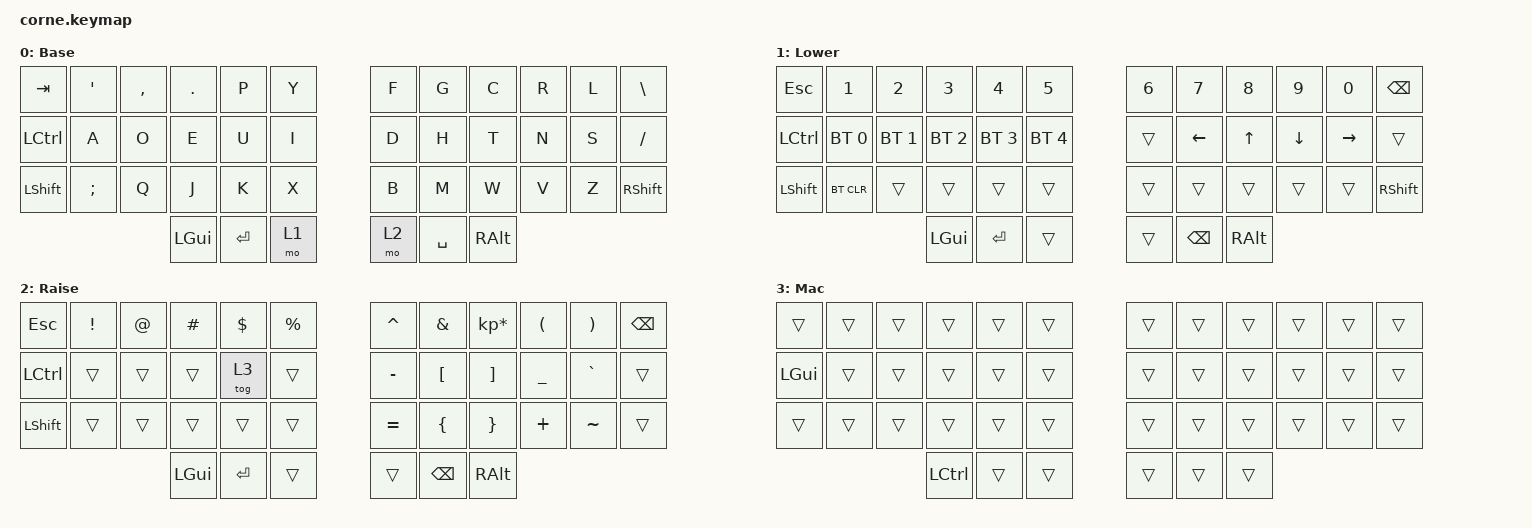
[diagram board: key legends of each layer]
/*
 * Copyright (c) 2020 The ZMK Contributors
 *
 * SPDX-License-Identifier: MIT
 */

#include <behaviors.dtsi>
#include <dt-bindings/zmk/keys.h>
#include <dt-bindings/zmk/bt.h>

/ {
        keymap {
                compatible = "zmk,keymap";

                default_layer {
// -----------------------------------------------------------------------------------------
// |  TAB |  '  |  ,  |  .  |  P  |  Y  |   |  F  |  G  |  C  |  R  |  L  |  \   |
// | CTRL |  A  |  O  |  E  |  U  |  I  |   |  D  |  H  |  T  |  N  |  S  |  /   |
// | SHFT |  ;  |  Q  |  J  |  K  |  X  |   |  B  |  M  |  W  |  V  |  Z  | SHFT |
//                    | GUI | ENT | LWR |   | RSE | SPC | ALT |
                        display-name = "Base";
                        bindings = <
   &kp TAB   &kp SQT  &kp COMMA &kp DOT  &kp P &kp Y     &kp F    &kp G  &kp C &kp R &kp L &kp BSLH
   &kp LCTRL &kp A    &kp O     &kp E    &kp U &kp I     &kp D    &kp H  &kp T &kp N &kp S &kp FSLH
   &kp LSHFT &kp SEMI &kp Q     &kp J    &kp K &kp X     &kp B    &kp M  &kp W &kp V &kp Z &kp RSHFT
                                &kp LGUI &kp RET &mo 1   &mo 2 &kp SPACE &kp RALT
                        >;
                };
                lower_layer {
// -----------------------------------------------------------------------------------------
// |  ESC |   1   |  2  |  3  |  4  |  5  |   |  6   |  7  |  8  |  9  |  0  | BKSP |
// | CTRL |  BT1  | BT2 | BT3 | BT4 | BT5 |   |      | LFT |  UP | DWN | RGT |      |
// | SHFT | BTCLR |     |     |     |     |   |      |     |     |     |     | SHFT |
//                      | GUI |     | ENT |   | BKSP |     | ALT |
                        display-name = "Lower";
                        bindings = <
   &kp ESC    &kp N1       &kp N2       &kp N3       &kp N4       &kp N5         &kp N6   &kp N7   &kp N8   &kp N9    &kp N0    &kp BSPC
   &kp LCTRL  &bt BT_SEL 0 &bt BT_SEL 1 &bt BT_SEL 2 &bt BT_SEL 3 &bt BT_SEL 4   &trans   &kp LEFT &kp UP   &kp DOWN  &kp RIGHT &trans
   &kp LSHFT  &bt BT_CLR   &trans       &trans       &trans       &trans         &trans   &trans   &trans   &trans    &trans    &kp RSHFT
                          	        &kp LGUI     &kp RET      &trans         &trans   &kp BSPC &kp RALT
                        >;
                };

                raise_layer {
// -----------------------------------------------------------------------------------------
// |  ESC |  !  |  @  |  #  |  $  |  %  |   |  ^  |  &  |  *  |  (  |  )  | BKSP |
// | CTRL |     |     |     | MAC |     |   |  -  |  [  |  ]  |  _  |  `  |      |
// | SHFT |     |     |     |     |     |   |  =  |  {  |  }  |  +  |  ~  |      |
//                    | GUI | ENT |     |   |     | BKSP| ALT |
                        display-name = "Raise";
                        bindings = <
   &kp  ESC  &kp EXCL &kp AT &kp HASH &kp DLLR &kp PRCNT   &kp CARET &kp AMPS  &kp KP_MULTIPLY &kp LPAR  &kp RPAR  &kp BSPC
   &kp LCTRL &trans   &trans &trans   &tog 3   &trans      &kp MINUS &kp LBKT  &kp RBKT        &kp UNDER &kp GRAVE &trans
   &kp LSHFT &trans   &trans &trans   &trans   &trans      &kp EQUAL &kp LBRC  &kp RBRC        &kp PLUS  &kp TILDE &trans
                    	     &kp LGUI &kp RET  &trans      &trans    &kp BSPC  &kp RALT
                        >;
                };

                mac_layer {
// -----------------------------------------------------------------------------------------
// |     |     |     |      |     |     |   |     |     |     |     |     |      |
// | GUI |     |     |      |     |     |   |     |     |     |     |     |      |
// |     |     |     |      |     |     |   |     |     |     |     |     |      |
//                   | CTRL |     |     |   |     |     |     |
                        display-name = "Mac";
                        bindings = <
   &trans   &trans &trans &trans    &trans &trans      &trans &trans &trans &trans &trans &trans
   &kp LGUI &trans &trans &trans    &trans &trans      &trans &trans &trans &trans &trans &trans
   &trans   &trans &trans &trans    &trans &trans      &trans &trans &trans &trans &trans &trans
                          &kp LCTRL &trans &trans      &trans &trans &trans
                        >;
                };

                extra_1 {
                        status = "reserved";
                };

                extra_2 {
                        status = "reserved";
                };

                extra_3 {
                        status = "reserved";
                };
        };
};
